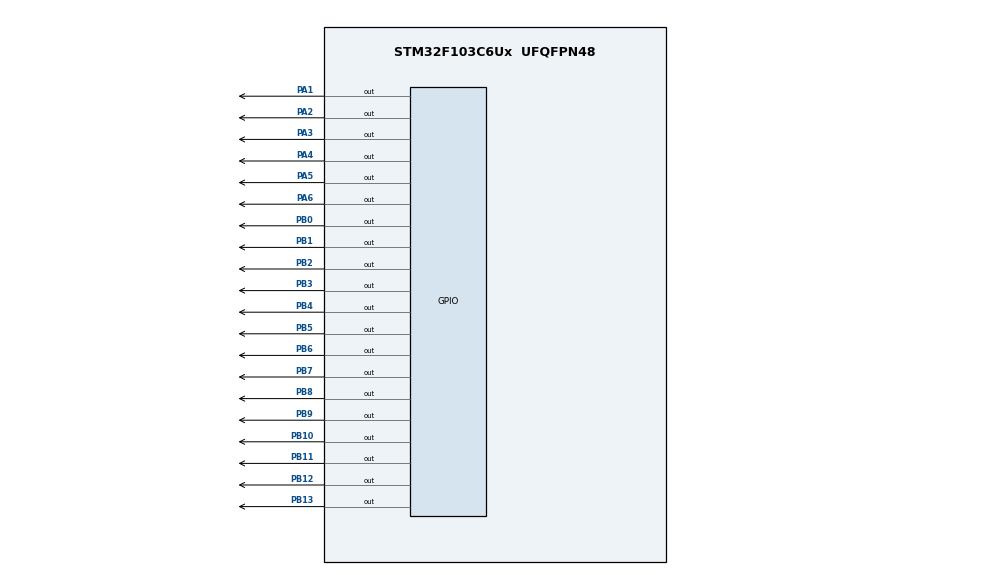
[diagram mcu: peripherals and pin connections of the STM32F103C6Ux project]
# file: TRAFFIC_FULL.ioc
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Mcu.Family=STM32F1
Mcu.Name=STM32F103C6Ux
Mcu.Package=UFQFPN48
NVIC.PriorityGroup=NVIC_PRIORITYGROUP_4
PA1.Signal=GPIO_Output
PA2.Signal=GPIO_Output
PA3.Signal=GPIO_Output
PA4.Signal=GPIO_Output
PA5.Signal=GPIO_Output
PA6.Signal=GPIO_Output
PB0.Signal=GPIO_Output
PB1.Signal=GPIO_Output
PB10.Signal=GPIO_Output
PB11.Signal=GPIO_Output
PB12.Signal=GPIO_Output
PB13.Signal=GPIO_Output
PB2.Signal=GPIO_Output
PB3.Signal=GPIO_Output
PB4.Signal=GPIO_Output
PB5.Signal=GPIO_Output
PB6.Signal=GPIO_Output
PB7.Signal=GPIO_Output
PB8.Signal=GPIO_Output
PB9.Signal=GPIO_Output
ProjectManager.HeapSize=0x200
ProjectManager.StackSize=0x400
ProjectManager.TargetToolchain=STM32CubeIDE
RCC.APB1Freq_Value=8000000
RCC.APB2Freq_Value=8000000
VP_SYS_VS_ND.Mode=No_Debug
board=custom

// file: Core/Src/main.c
/* USER CODE BEGIN Header */
/**
  ******************************************************************************
  * @file           : main.c
  * @brief          : Main program body
  ******************************************************************************
  * @attention
  *
  * <h2><center>&copy; Copyright (c) 2022 STMicroelectronics.
  * All rights reserved.</center></h2>
  *
  * This software component is licensed by ST under BSD 3-Clause license,
  * the "License"; You may not use this file except in compliance with the
  * License. You may obtain a copy of the License at:
  *                        opensource.org/licenses/BSD-3-Clause
  *
  ******************************************************************************
  */
/* USER CODE END Header */
#include "main.h"

void SystemClock_Config(void);
static void MX_GPIO_Init(void);
/* USER CODE BEGIN PFP */
void display7SEG1 (int input){
	HAL_GPIO_WritePin(GPIOB, GPIO_PIN_0, GPIO_PIN_RESET);	//a
	HAL_GPIO_WritePin(GPIOB, GPIO_PIN_1, GPIO_PIN_RESET);	//b
	HAL_GPIO_WritePin(GPIOB, GPIO_PIN_2, GPIO_PIN_RESET);	//c
	HAL_GPIO_WritePin(GPIOB, GPIO_PIN_3, GPIO_PIN_RESET);	//d
	HAL_GPIO_WritePin(GPIOB, GPIO_PIN_4, GPIO_PIN_RESET);	//e
	HAL_GPIO_WritePin(GPIOB, GPIO_PIN_5, GPIO_PIN_RESET);	//f
	HAL_GPIO_WritePin(GPIOB, GPIO_PIN_6, GPIO_PIN_RESET);	//g

	switch(input){
	case 0:
		HAL_GPIO_TogglePin(GPIOB, GPIO_PIN_6);
		break;
	case 1:
		HAL_GPIO_TogglePin(GPIOB, GPIO_PIN_0);
		HAL_GPIO_TogglePin(GPIOB, GPIO_PIN_3);
		HAL_GPIO_TogglePin(GPIOB, GPIO_PIN_4);
		HAL_GPIO_TogglePin(GPIOB, GPIO_PIN_5);
		HAL_GPIO_TogglePin(GPIOB, GPIO_PIN_6);

		break;
	case 2:
		HAL_GPIO_TogglePin(GPIOB, GPIO_PIN_2);
		HAL_GPIO_TogglePin(GPIOB, GPIO_PIN_5);
		break;
	case 3:
		HAL_GPIO_TogglePin(GPIOB, GPIO_PIN_4);
		HAL_GPIO_TogglePin(GPIOB, GPIO_PIN_5);
		break;
	case 4:
		HAL_GPIO_TogglePin(GPIOB, GPIO_PIN_0);
		HAL_GPIO_TogglePin(GPIOB, GPIO_PIN_3);
		HAL_GPIO_TogglePin(GPIOB, GPIO_PIN_4);
		break;
	case 5:
		HAL_GPIO_TogglePin(GPIOB, GPIO_PIN_1);
		HAL_GPIO_TogglePin(GPIOB, GPIO_PIN_4);
		break;
	case 6:
		HAL_GPIO_TogglePin(GPIOB, GPIO_PIN_1);
		break;
	case 7:
		HAL_GPIO_TogglePin(GPIOB, GPIO_PIN_3);
		HAL_GPIO_TogglePin(GPIOB, GPIO_PIN_4);
		HAL_GPIO_TogglePin(GPIOB, GPIO_PIN_5);
		HAL_GPIO_TogglePin(GPIOB, GPIO_PIN_6);
		break;
	case 9:
		HAL_GPIO_TogglePin(GPIOB, GPIO_PIN_4);
		break;
	default:
		break;

	}
}
/* USER CODE END PFP */

/* USER CODE BEGIN 0 */
void display7SEG2 (int input){
	HAL_GPIO_WritePin(GPIOB, GPIO_PIN_7, GPIO_PIN_RESET);	//a
	HAL_GPIO_WritePin(GPIOB, GPIO_PIN_8, GPIO_PIN_RESET);	//b
	HAL_GPIO_WritePin(GPIOB, GPIO_PIN_9, GPIO_PIN_RESET);	//c
	HAL_GPIO_WritePin(GPIOB, GPIO_PIN_10, GPIO_PIN_RESET);	//d
	HAL_GPIO_WritePin(GPIOB, GPIO_PIN_11, GPIO_PIN_RESET);	//e
	HAL_GPIO_WritePin(GPIOB, GPIO_PIN_12, GPIO_PIN_RESET);	//f
	HAL_GPIO_WritePin(GPIOB, GPIO_PIN_13, GPIO_PIN_RESET);	//g

	switch(input){
	case 0:
		HAL_GPIO_TogglePin(GPIOB, GPIO_PIN_13);
		break;
	case 1:
		HAL_GPIO_TogglePin(GPIOB, GPIO_PIN_7);
		HAL_GPIO_TogglePin(GPIOB, GPIO_PIN_10);
		HAL_GPIO_TogglePin(GPIOB, GPIO_PIN_11);
		HAL_GPIO_TogglePin(GPIOB, GPIO_PIN_12);
		HAL_GPIO_TogglePin(GPIOB, GPIO_PIN_13);

		break;
	case 2:
		HAL_GPIO_TogglePin(GPIOB, GPIO_PIN_9);
		HAL_GPIO_TogglePin(GPIOB, GPIO_PIN_12);
		break;
	case 3:
		HAL_GPIO_TogglePin(GPIOB, GPIO_PIN_11);
		HAL_GPIO_TogglePin(GPIOB, GPIO_PIN_12);
		break;
	case 4:
		HAL_GPIO_TogglePin(GPIOB, GPIO_PIN_7);
		HAL_GPIO_TogglePin(GPIOB, GPIO_PIN_10);
		HAL_GPIO_TogglePin(GPIOB, GPIO_PIN_11);
		break;
	case 5:
		HAL_GPIO_TogglePin(GPIOB, GPIO_PIN_8);
		HAL_GPIO_TogglePin(GPIOB, GPIO_PIN_11);
		break;
	case 6:
		HAL_GPIO_TogglePin(GPIOB, GPIO_PIN_8);
		break;
	case 7:
		HAL_GPIO_TogglePin(GPIOB, GPIO_PIN_10);
		HAL_GPIO_TogglePin(GPIOB, GPIO_PIN_11);
		HAL_GPIO_TogglePin(GPIOB, GPIO_PIN_12);
		HAL_GPIO_TogglePin(GPIOB, GPIO_PIN_13);
		break;
	case 9:
		HAL_GPIO_TogglePin(GPIOB, GPIO_PIN_11);
		break;
	default:
		break;

	}
}
/* USER CODE END 0 */

int main(void)
{

  /* MCU Configuration--------------------------------------------------------*/

  /* Reset of all peripherals, Initializes the Flash interface and the Systick. */
  HAL_Init();

  /* Configure the system clock */
  SystemClock_Config();

  /* Initialize all configured peripherals */
  MX_GPIO_Init();

  /* Infinite loop */
  /* USER CODE BEGIN WHILE */
  while (1)
  {
	  HAL_GPIO_WritePin(GPIOA, GPIO_PIN_3, SET); //RED
	  	  	  HAL_GPIO_WritePin(GPIOA, GPIO_PIN_4, SET); //GREEN
	  	  	  HAL_GPIO_WritePin(GPIOA, GPIO_PIN_1, RESET);
	  	  	  HAL_GPIO_WritePin(GPIOA, GPIO_PIN_2, RESET);
	  	  	  HAL_GPIO_WritePin(GPIOA, GPIO_PIN_5, RESET);
	  	  	  HAL_GPIO_WritePin(GPIOA, GPIO_PIN_6, RESET);
	  	  	int j=5;
	  	  		  for (int i =3; i>0;i--) {
	  	  			  		display7SEG1(i);
	  	  			  		display7SEG2(j);
	  	  			  		j--;
	  	  			  		HAL_Delay(1000);
	  	  			  	  }

	  	  	  HAL_GPIO_WritePin(GPIOA, GPIO_PIN_3, SET); //RED
	  	  	  HAL_GPIO_WritePin(GPIOA, GPIO_PIN_5, SET); //YELLOW
	  	  	  HAL_GPIO_WritePin(GPIOA, GPIO_PIN_1, RESET);
	  	  	  HAL_GPIO_WritePin(GPIOA, GPIO_PIN_2, RESET);
	  	  	  HAL_GPIO_WritePin(GPIOA, GPIO_PIN_4, RESET);
	  	  	  HAL_GPIO_WritePin(GPIOA, GPIO_PIN_6, RESET);
	  	  	for (int i =2; i>0;i--) {
	  	  			  		display7SEG1(i);
	  	  			  		display7SEG2(j);
	  	  			  		j--;
	  	  			  		HAL_Delay(1000);
	  	  			  	  }

	  	  	  HAL_GPIO_WritePin(GPIOA, GPIO_PIN_1, SET); //GREEN
	  	  	  HAL_GPIO_WritePin(GPIOA, GPIO_PIN_6, SET); //RED
	  	  	  HAL_GPIO_WritePin(GPIOA, GPIO_PIN_2, RESET);
	  	  	  HAL_GPIO_WritePin(GPIOA, GPIO_PIN_3, RESET);
	  	  	  HAL_GPIO_WritePin(GPIOA, GPIO_PIN_4, RESET);
	  	  	  HAL_GPIO_WritePin(GPIOA, GPIO_PIN_5, RESET);
	  	  	int k=5;
	  	  		  for (int i =3; i>0;i--) {
	  	  		  		display7SEG2(i);
	  	  		  		display7SEG1(k);
	  	  		  		k--;
	  	  		  		HAL_Delay(1000);
	  	  		  	  }

	  	  	  HAL_GPIO_WritePin(GPIOA, GPIO_PIN_2, SET); //YELLOW
	  	  	  HAL_GPIO_WritePin(GPIOA, GPIO_PIN_6, SET); //RED
	  	  	  HAL_GPIO_WritePin(GPIOA, GPIO_PIN_1, RESET);
	  	  	  HAL_GPIO_WritePin(GPIOA, GPIO_PIN_3, RESET);
	  	  	  HAL_GPIO_WritePin(GPIOA, GPIO_PIN_4, RESET);
	  	  	  HAL_GPIO_WritePin(GPIOA, GPIO_PIN_5, RESET);
	  	  	for (int i =2; i>0;i--) {
	  	  		  		display7SEG2(i);
	  	  		  		display7SEG1(k);
	  	  		  		k--;
	  	  		  		HAL_Delay(1000);
	  	  		  	  }
    /* USER CODE END WHILE */
  }
}

void SystemClock_Config(void)
{
  RCC_OscInitTypeDef RCC_OscInitStruct = {0};
  RCC_ClkInitTypeDef RCC_ClkInitStruct = {0};

  /** Initializes the RCC Oscillators according to the specified parameters
  * in the RCC_OscInitTypeDef structure.
  */
  RCC_OscInitStruct.OscillatorType = RCC_OSCILLATORTYPE_HSI;
  RCC_OscInitStruct.HSIState = RCC_HSI_ON;
  RCC_OscInitStruct.HSICalibrationValue = RCC_HSICALIBRATION_DEFAULT;
  RCC_OscInitStruct.PLL.PLLState = RCC_PLL_NONE;
  if (HAL_RCC_OscConfig(&RCC_OscInitStruct) != HAL_OK)
  {
    Error_Handler();
  }
  /** Initializes the CPU, AHB and APB buses clocks
  */
  RCC_ClkInitStruct.ClockType = RCC_CLOCKTYPE_HCLK|RCC_CLOCKTYPE_SYSCLK
                              |RCC_CLOCKTYPE_PCLK1|RCC_CLOCKTYPE_PCLK2;
  RCC_ClkInitStruct.SYSCLKSource = RCC_SYSCLKSOURCE_HSI;
  RCC_ClkInitStruct.AHBCLKDivider = RCC_SYSCLK_DIV1;
  RCC_ClkInitStruct.APB1CLKDivider = RCC_HCLK_DIV1;
  RCC_ClkInitStruct.APB2CLKDivider = RCC_HCLK_DIV1;

  if (HAL_RCC_ClockConfig(&RCC_ClkInitStruct, FLASH_LATENCY_0) != HAL_OK)
  {
    Error_Handler();
  }
}

static void MX_GPIO_Init(void)
{
  GPIO_InitTypeDef GPIO_InitStruct = {0};

  /* GPIO Ports Clock Enable */
  __HAL_RCC_GPIOA_CLK_ENABLE();
  __HAL_RCC_GPIOB_CLK_ENABLE();

  /*Configure GPIO pin Output Level */
  HAL_GPIO_WritePin(GPIOA, GPIO_PIN_1|GPIO_PIN_2|GPIO_PIN_3|GPIO_PIN_4
                          |GPIO_PIN_5|GPIO_PIN_6, GPIO_PIN_RESET);

  /*Configure GPIO pin Output Level */
  HAL_GPIO_WritePin(GPIOB, GPIO_PIN_0|GPIO_PIN_1|GPIO_PIN_2|GPIO_PIN_10
                          |GPIO_PIN_11|GPIO_PIN_12|GPIO_PIN_13|GPIO_PIN_3
                          |GPIO_PIN_4|GPIO_PIN_5|GPIO_PIN_6|GPIO_PIN_7
                          |GPIO_PIN_8|GPIO_PIN_9, GPIO_PIN_RESET);

  /*Configure GPIO pins : PA1 PA2 PA3 PA4
                           PA5 PA6 */
  GPIO_InitStruct.Pin = GPIO_PIN_1|GPIO_PIN_2|GPIO_PIN_3|GPIO_PIN_4
                          |GPIO_PIN_5|GPIO_PIN_6;
  GPIO_InitStruct.Mode = GPIO_MODE_OUTPUT_PP;
  GPIO_InitStruct.Pull = GPIO_NOPULL;
  GPIO_InitStruct.Speed = GPIO_SPEED_FREQ_LOW;
  HAL_GPIO_Init(GPIOA, &GPIO_InitStruct);

  /*Configure GPIO pins : PB0 PB1 PB2 PB10
                           PB11 PB12 PB13 PB3
                           PB4 PB5 PB6 PB7
                           PB8 PB9 */
  GPIO_InitStruct.Pin = GPIO_PIN_0|GPIO_PIN_1|GPIO_PIN_2|GPIO_PIN_10
                          |GPIO_PIN_11|GPIO_PIN_12|GPIO_PIN_13|GPIO_PIN_3
                          |GPIO_PIN_4|GPIO_PIN_5|GPIO_PIN_6|GPIO_PIN_7
                          |GPIO_PIN_8|GPIO_PIN_9;
  GPIO_InitStruct.Mode = GPIO_MODE_OUTPUT_PP;
  GPIO_InitStruct.Pull = GPIO_NOPULL;
  GPIO_InitStruct.Speed = GPIO_SPEED_FREQ_LOW;
  HAL_GPIO_Init(GPIOB, &GPIO_InitStruct);

}

void Error_Handler(void)
{
  __disable_irq();
  while (1)
  {
  }
}

/************************ (C) COPYRIGHT STMicroelectronics *****END OF FILE****/
